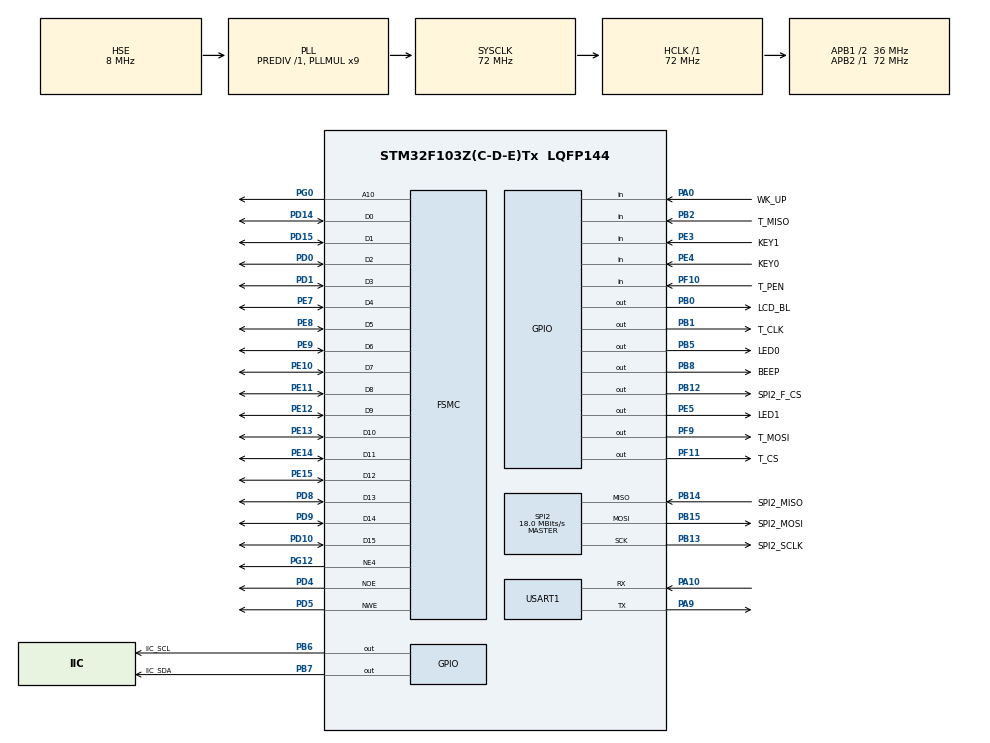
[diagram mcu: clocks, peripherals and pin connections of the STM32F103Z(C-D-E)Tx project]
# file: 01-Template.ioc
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FREERTOS.INCLUDE_eTaskGetState=1
FREERTOS.INCLUDE_xTaskGetHandle=1
FREERTOS.Tasks01=LED_TASK,-3,1024,LED_Func,Default,NULL,Dynamic,NULL,NULL;UI_Task,0,1024,UI_Func,Default,NULL,Dynamic,NULL,NULL;UI_Touch_Task,0,1024,Touch_Func,Default,NULL,Dynamic,NULL,NULL
FREERTOS.configMINIMAL_STACK_SIZE=1024
FREERTOS.configTOTAL_HEAP_SIZE=18384
FSMC.AddressSetupTime1=1
FSMC.BusTurnAroundDuration1=0
FSMC.DataSetupTime1=11
FSMC.ExtendedAddressSetupTime1=0
FSMC.ExtendedBusTurnAroundDuration1=0
FSMC.ExtendedDataSetupTime1=1
FSMC.ExtendedMode1=FSMC_EXTENDED_MODE_ENABLE
Mcu.Family=STM32F1
Mcu.Name=STM32F103Z(C-D-E)Tx
Mcu.Package=LQFP144
NVIC.PriorityGroup=NVIC_PRIORITYGROUP_4
NVIC.TIM1_UP_IRQn=true\:15\:0\:false\:false\:true\:false\:false\:true\:true
NVIC.TimeBase=TIM1_UP_IRQn
NVIC.TimeBaseIP=TIM1
NVIC.USART1_IRQn=true\:5\:0\:false\:false\:true\:true\:true\:true\:true
OSC_IN.Mode=HSE-External-Oscillator
OSC_IN.Signal=RCC_OSC_IN
OSC_OUT.Mode=HSE-External-Oscillator
OSC_OUT.Signal=RCC_OSC_OUT
PA0-WKUP.GPIO_Label=WK_UP
PA0-WKUP.GPIO_PuPd=GPIO_PULLDOWN
PA0-WKUP.Signal=GPIO_Input
PA10.Mode=Asynchronous
PA10.Signal=USART1_RX
PA13.Mode=Serial_Wire
PA13.Signal=SYS_JTMS-SWDIO
PA14.Mode=Serial_Wire
PA14.Signal=SYS_JTCK-SWCLK
PA9.Mode=Asynchronous
PA9.Signal=USART1_TX
PB0.GPIO_Label=LCD_BL
PB0.GPIO_ModeDefaultOutputPP=GPIO_MODE_OUTPUT_PP
PB0.PinState=GPIO_PIN_SET
PB0.Signal=GPIO_Output
PB1.GPIO_Label=T_CLK
PB1.GPIO_Speed=GPIO_SPEED_FREQ_HIGH
PB1.Signal=GPIO_Output
PB12.GPIO_Label=SPI2_F_CS
PB12.GPIO_PuPd=GPIO_NOPULL
PB12.PinState=GPIO_PIN_SET
PB12.Signal=GPIO_Output
PB13.GPIO_Label=SPI2_SCLK
PB13.Mode=Full_Duplex_Master
PB13.Signal=SPI2_SCK
PB14.GPIO_Label=SPI2_MISO
PB14.Mode=Full_Duplex_Master
PB14.Signal=SPI2_MISO
PB15.GPIO_Label=SPI2_MOSI
PB15.Mode=Full_Duplex_Master
PB15.Signal=SPI2_MOSI
PB2.GPIO_Label=T_MISO
PB2.Signal=GPIO_Input
PB5.GPIO_Label=LED0
PB5.GPIO_PuPd=GPIO_PULLUP
PB5.PinState=GPIO_PIN_SET
PB5.Signal=GPIO_Output
PB6.GPIO_Label=IIC_SCL
PB6.GPIO_ModeDefaultOutputPP=GPIO_MODE_OUTPUT_OD
PB6.GPIO_PuPd=GPIO_PULLUP
PB6.Signal=GPIO_Output
PB7.GPIO_Label=IIC_SDA
PB7.GPIO_ModeDefaultOutputPP=GPIO_MODE_OUTPUT_OD
PB7.GPIO_PuPd=GPIO_PULLUP
PB7.Signal=GPIO_Output
PB8.GPIO_Label=BEEP
PB8.GPIO_PuPd=GPIO_NOPULL
PB8.Signal=GPIO_Output
PC14-OSC32_IN.Mode=LSE-External-Oscillator
PC14-OSC32_IN.Signal=RCC_OSC32_IN
PC15-OSC32_OUT.Mode=LSE-External-Oscillator
PC15-OSC32_OUT.Signal=RCC_OSC32_OUT
PD0.Signal=FSMC_D2_DA2
PD1.Signal=FSMC_D3_DA3
PD10.Signal=FSMC_D15_DA15
PD14.Signal=FSMC_D0_DA0
PD15.Signal=FSMC_D1_DA1
PD4.Signal=FSMC_NOE
PD5.Signal=FSMC_NWE
PD8.Signal=FSMC_D13_DA13
PD9.Signal=FSMC_D14_DA14
PE10.Signal=FSMC_D7_DA7
PE11.Signal=FSMC_D8_DA8
PE12.Signal=FSMC_D9_DA9
PE13.Signal=FSMC_D10_DA10
PE14.Signal=FSMC_D11_DA11
PE15.Signal=FSMC_D12_DA12
PE3.GPIO_Label=KEY1
PE3.GPIO_PuPd=GPIO_PULLUP
PE3.Signal=GPIO_Input
PE4.GPIO_Label=KEY0
PE4.GPIO_PuPd=GPIO_PULLUP
PE4.Signal=GPIO_Input
PE5.GPIO_Label=LED1
PE5.PinState=GPIO_PIN_SET
PE5.Signal=GPIO_Output
PE7.Signal=FSMC_D4_DA4
PE8.Signal=FSMC_D5_DA5
PE9.Signal=FSMC_D6_DA6
PF10.GPIO_Label=T_PEN
PF10.Signal=GPIO_Input
PF11.GPIO_Label=T_CS
PF11.GPIO_PuPd=GPIO_PULLDOWN
PF11.Signal=GPIO_Output
PF9.GPIO_Label=T_MOSI
PF9.GPIO_Speed=GPIO_SPEED_FREQ_HIGH
PF9.Signal=GPIO_Output
PG0.Signal=FSMC_A10
PG12.Mode=NorPsramChipSelect4_1
PG12.Signal=FSMC_NE4
ProjectManager.HeapSize=0x200
ProjectManager.StackSize=0x400
ProjectManager.TargetToolchain=MDK-ARM V5.32
RCC.AHBFreq_Value=72000000
RCC.APB1CLKDivider=RCC_HCLK_DIV2
RCC.APB1Freq_Value=36000000
RCC.APB1TimFreq_Value=72000000
RCC.APB2Freq_Value=72000000
RCC.APB2TimFreq_Value=72000000
RCC.HCLKFreq_Value=72000000
RCC.PLLMUL=RCC_PLL_MUL9
RCC.PLLSourceVirtual=RCC_PLLSOURCE_HSE
RCC.SYSCLKFreq_VALUE=72000000
RCC.SYSCLKSource=RCC_SYSCLKSOURCE_PLLCLK
RCC.USBFreq_Value=72000000
SH.FSMC_A10.0=FSMC_A10,A10_1
SH.FSMC_D0_DA0.0=FSMC_D0,16b-d1
SH.FSMC_D10_DA10.0=FSMC_D10,16b-d1
SH.FSMC_D11_DA11.0=FSMC_D11,16b-d1
SH.FSMC_D12_DA12.0=FSMC_D12,16b-d1
SH.FSMC_D13_DA13.0=FSMC_D13,16b-d1
SH.FSMC_D14_DA14.0=FSMC_D14,16b-d1
SH.FSMC_D15_DA15.0=FSMC_D15,16b-d1
SH.FSMC_D1_DA1.0=FSMC_D1,16b-d1
SH.FSMC_D2_DA2.0=FSMC_D2,16b-d1
SH.FSMC_D3_DA3.0=FSMC_D3,16b-d1
SH.FSMC_D4_DA4.0=FSMC_D4,16b-d1
SH.FSMC_D5_DA5.0=FSMC_D5,16b-d1
SH.FSMC_D6_DA6.0=FSMC_D6,16b-d1
SH.FSMC_D7_DA7.0=FSMC_D7,16b-d1
SH.FSMC_D8_DA8.0=FSMC_D8,16b-d1
SH.FSMC_D9_DA9.0=FSMC_D9,16b-d1
SH.FSMC_NOE.0=FSMC_NOE,Lcd1
SH.FSMC_NWE.0=FSMC_NWE,Lcd1
SPI2.CLKPhase=SPI_PHASE_2EDGE
SPI2.CLKPolarity=SPI_POLARITY_HIGH
SPI2.CRCCalculation=SPI_CRCCALCULATION_DISABLE
SPI2.CalculateBaudRate=18.0 MBits/s
SPI2.Direction=SPI_DIRECTION_2LINES
SPI2.Mode=SPI_MODE_MASTER
SPI2.VirtualType=VM_MASTER
USART1.VirtualMode=VM_ASYNC
VP_CRC_VS_CRC.Mode=CRC_Activate
VP_FREERTOS_VS_CMSIS_V1.Mode=CMSIS_V1
VP_SYS_VS_tim1.Mode=TIM1
board=custom

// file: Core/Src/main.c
/* USER CODE BEGIN Header */
/**
  ******************************************************************************
  * @file           : main.c
  * @brief          : Main program body
  ******************************************************************************
  * @attention
  *
  * Copyright (c) 2025 STMicroelectronics.
  * All rights reserved.
  *
  * This software is licensed under terms that can be found in the LICENSE file
  * in the root directory of this software component.
  * If no LICENSE file comes with this software, it is provided AS-IS.
  *
  ******************************************************************************
  */
/* USER CODE END Header */
#include "main.h"
#include "cmsis_os.h"
#include "crc.h"
#include "spi.h"
#include "usart.h"
#include "gpio.h"
#include "fsmc.h"

/* USER CODE BEGIN Includes */
#include "lcd.h"
/* USER CODE END Includes */

void SystemClock_Config(void);
void MX_FREERTOS_Init(void);

int main(void)
{

  /* MCU Configuration--------------------------------------------------------*/

  /* Reset of all peripherals, Initializes the Flash interface and the Systick. */
  HAL_Init();

  /* Configure the system clock */
  SystemClock_Config();

  /* Initialize all configured peripherals */
  MX_GPIO_Init();
  MX_CRC_Init();
  MX_FSMC_Init();
  MX_USART1_UART_Init();
  MX_SPI2_Init();
  /* USER CODE BEGIN 2 */
  lcd_init();
  /* USER CODE END 2 */

  /* Call init function for freertos objects (in freertos.c) */
  MX_FREERTOS_Init();

  /* Start scheduler */
  osKernelStart();

  /* We should never get here as control is now taken by the scheduler */
  /* Infinite loop */
  while (1)
  {

  }
}

void SystemClock_Config(void)
{
  RCC_OscInitTypeDef RCC_OscInitStruct = {0};
  RCC_ClkInitTypeDef RCC_ClkInitStruct = {0};

  /** Initializes the RCC Oscillators according to the specified parameters
  * in the RCC_OscInitTypeDef structure.
  */
  RCC_OscInitStruct.OscillatorType = RCC_OSCILLATORTYPE_HSE;
  RCC_OscInitStruct.HSEState = RCC_HSE_ON;
  RCC_OscInitStruct.HSEPredivValue = RCC_HSE_PREDIV_DIV1;
  RCC_OscInitStruct.HSIState = RCC_HSI_ON;
  RCC_OscInitStruct.PLL.PLLState = RCC_PLL_ON;
  RCC_OscInitStruct.PLL.PLLSource = RCC_PLLSOURCE_HSE;
  RCC_OscInitStruct.PLL.PLLMUL = RCC_PLL_MUL9;
  if (HAL_RCC_OscConfig(&RCC_OscInitStruct) != HAL_OK)
  {
    Error_Handler();
  }

  /** Initializes the CPU, AHB and APB buses clocks
  */
  RCC_ClkInitStruct.ClockType = RCC_CLOCKTYPE_HCLK|RCC_CLOCKTYPE_SYSCLK
                              |RCC_CLOCKTYPE_PCLK1|RCC_CLOCKTYPE_PCLK2;
  RCC_ClkInitStruct.SYSCLKSource = RCC_SYSCLKSOURCE_PLLCLK;
  RCC_ClkInitStruct.AHBCLKDivider = RCC_SYSCLK_DIV1;
  RCC_ClkInitStruct.APB1CLKDivider = RCC_HCLK_DIV2;
  RCC_ClkInitStruct.APB2CLKDivider = RCC_HCLK_DIV1;

  if (HAL_RCC_ClockConfig(&RCC_ClkInitStruct, FLASH_LATENCY_2) != HAL_OK)
  {
    Error_Handler();
  }
}

void HAL_TIM_PeriodElapsedCallback(TIM_HandleTypeDef *htim)
{
  if (htim->Instance == TIM1) {
    HAL_IncTick();
  }
}

void Error_Handler(void)
{
  __disable_irq();
  while (1)
  {
  }
}

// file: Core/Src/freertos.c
/* USER CODE BEGIN Header */
/**
  ******************************************************************************
  * File Name          : freertos.c
  * Description        : Code for freertos applications
  ******************************************************************************
  * @attention
  *
  * Copyright (c) 2025 STMicroelectronics.
  * All rights reserved.
  *
  * This software is licensed under terms that can be found in the LICENSE file
  * in the root directory of this software component.
  * If no LICENSE file comes with this software, it is provided AS-IS.
  *
  ******************************************************************************
  */
/* USER CODE END Header */

#include "FreeRTOS.h"
#include "task.h"
#include "main.h"
#include "cmsis_os.h"

/* USER CODE BEGIN Includes */
#include "stm32f1xx_hal.h"
#include "GUI.h"
#include "usart.h"
#include "led.h"
#include "key.h"
#include "beep.h"
#include "at24c02.h"
#include "w25qx.h"
/* USER CODE END Includes */

osThreadId LED_TASKHandle;
osThreadId UI_TaskHandle;
osThreadId UI_Touch_TaskHandle;

void LED_Func(void const * argument);
void UI_Func(void const * argument);
void Touch_Func(void const * argument);

void MX_FREERTOS_Init(void); /* (MISRA C 2004 rule 8.1) */

/* GetIdleTaskMemory prototype (linked to static allocation support) */
void vApplicationGetIdleTaskMemory( StaticTask_t **ppxIdleTaskTCBBuffer, StackType_t **ppxIdleTaskStackBuffer, uint32_t *pulIdleTaskStackSize );

/* USER CODE BEGIN GET_IDLE_TASK_MEMORY */
static StaticTask_t xIdleTaskTCBBuffer;
static StackType_t xIdleStack[configMINIMAL_STACK_SIZE];

void vApplicationGetIdleTaskMemory( StaticTask_t **ppxIdleTaskTCBBuffer, StackType_t **ppxIdleTaskStackBuffer, uint32_t *pulIdleTaskStackSize )
{
  *ppxIdleTaskTCBBuffer = &xIdleTaskTCBBuffer;
  *ppxIdleTaskStackBuffer = &xIdleStack[0];
  *pulIdleTaskStackSize = configMINIMAL_STACK_SIZE;
  /* place for user code */
}
/* USER CODE END GET_IDLE_TASK_MEMORY */

void MX_FREERTOS_Init(void) {

  /* Create the thread(s) */
  /* definition and creation of LED_TASK */
  osThreadDef(LED_TASK, LED_Func, osPriorityIdle, 0, 1024);
  LED_TASKHandle = osThreadCreate(osThread(LED_TASK), NULL);

  /* definition and creation of UI_Task */
  osThreadDef(UI_Task, UI_Func, osPriorityNormal, 0, 1024);
  UI_TaskHandle = osThreadCreate(osThread(UI_Task), NULL);

  /* definition and creation of UI_Touch_Task */
  osThreadDef(UI_Touch_Task, Touch_Func, osPriorityNormal, 0, 1024);
  UI_Touch_TaskHandle = osThreadCreate(osThread(UI_Touch_Task), NULL);

}

void LED_Func(void const * argument)
{
  /* USER CODE BEGIN LED_Func */
  /* Infinite loop */
    uint8_t wData[32] = {0x00};
    uint8_t rData[32] = {0x00};
    for(uint8_t i = 0; i < sizeof(wData); i++)
    {
      wData[i] = i+1;
    }
    W25Qx_Init();
    W25QX_DeviceInfo_Struct deviceInfo = W25Qx_GetDeviceInfo();
    printf("Manu Facturer ID: %x\r\n", deviceInfo.manufacturerID);
    printf("Memory Type: %x\r\n", deviceInfo.memoryType);
    printf("Memory Density: %x\r\n", deviceInfo.memoryDensity);
  for(;;)
  {
      KEY_Process();
      Key_Event key = KEY_GetEvent(KEY_WK_UP);
     if(KEY_EVENT_SHORT_PRESS == key)
     {
         W25QX_WriteBytes(0x00, wData, sizeof(wData));
         printf("Write OK\r\n");
     }

     key = KEY_GetEvent(KEY_1);
     if(KEY_EVENT_SHORT_PRESS == key)
     {
        W25QX_ReadBytes(0x00, rData, sizeof(rData));
        printf("Read Data:");
        for(uint8_t i = 0; i < sizeof(rData); i++)
          printf(" %d", rData[i]);
        printf("\r\n");
     }
      osDelay(KEY_SCAN_INTERVAL);
  }
  /* USER CODE END LED_Func */
}

void UI_Func(void const * argument)
{
  /* USER CODE BEGIN UI_Func */
  GUI_Init();
  GUI_SetBkColor(GUI_BLACK);
  GUI_Clear();
  GUI_CURSOR_Show();
  /* Infinite loop */
  for(;;)
  {
      GUI_Exec();
      osDelay(5);
  }
  /* USER CODE END UI_Func */
}

void Touch_Func(void const * argument)
{
  /* USER CODE BEGIN Touch_Func */
  /* Infinite loop */
  for(;;)
  {
      GUI_TOUCH_Exec();
      osDelay(5);
  }
  /* USER CODE END Touch_Func */
}
